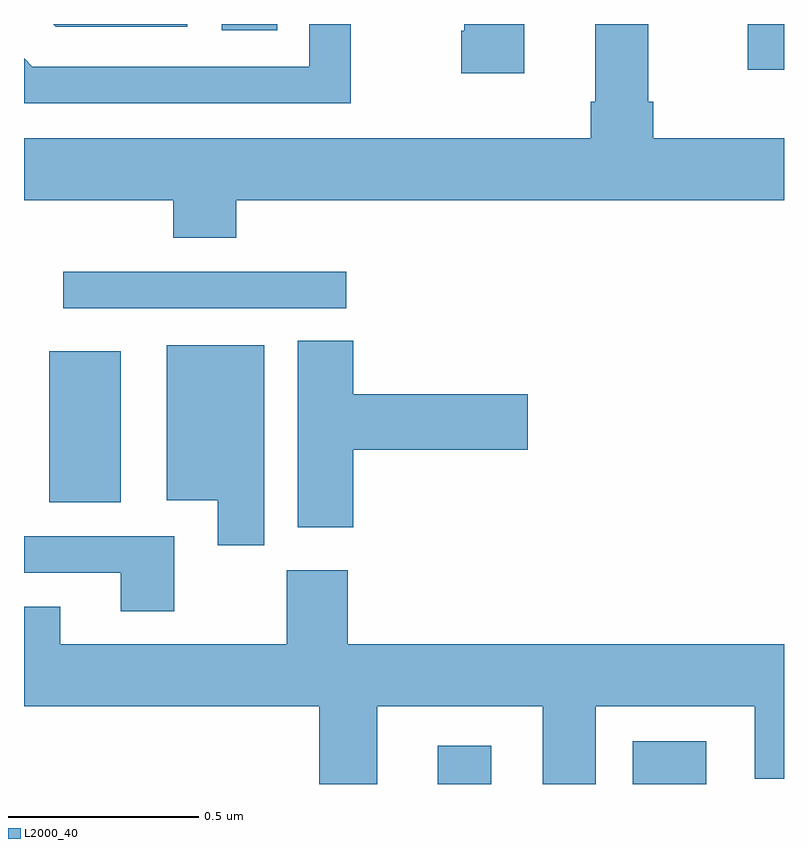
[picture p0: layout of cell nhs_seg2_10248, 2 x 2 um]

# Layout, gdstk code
import gdstk
lib = gdstk.Library(unit=1e-6, precision=1e-09)
def R(c, l, rs):  # rectangles x0, y0, x1, y1
    for r in rs: c.add(gdstk.rectangle(r[:2], r[2:], *l))
def P(c, l, *ps):  # polygons
    for p in ps: c.add(gdstk.Polygon(p, *l))
L2000_40 = (2000, 40)

nhs_seg2_10248 = lib.new_cell('nhs_seg2_10248')
R(nhs_seg2_10248, L2000_40, [(240.089,612.8,240.229,612.901), (240.602,612.8,240.796,612.913), (239.066,613.541,239.254,613.939), (239.103,614.052,239.848,614.148), (240.904,614.679,241,614.8), (239.52,614.784,239.666,614.8)])
P(nhs_seg2_10248, L2000_40, [(239.558,614.336),(241,614.336),(241,614.5),(240.656,614.5),(240.656,614.596),(240.643,614.596),(240.643,614.8),(240.503,614.8),(240.503,614.596),(240.491,614.596),(240.491,614.5),(239,614.5),(239,614.336),(239.393,614.336),(239.393,614.237),(239.558,614.237)],
  [(239.86,614.8),(239.751,614.8),(239.751,614.688),(239.022,614.688),(239,614.71),(239,614.592),(239.86,614.592)],
  [(240.316,614.8),(240.158,614.8),(240.158,614.782),(240.151,614.782),(240.151,614.67),(240.316,614.67)],
  [(239.43,614.8),(239.077,614.8),(239.084,614.793),(239.43,614.793)],
  [(239.867,613.679),(240.325,613.679),(240.325,613.826),(239.867,613.826),(239.867,613.967),(239.72,613.967),(239.72,613.476),(239.867,613.476)],
  [(239.632,613.954),(239.375,613.954),(239.375,613.547),(239.51,613.547),(239.51,613.428),(239.632,613.428)],
  [(239.395,613.452),(239,613.452),(239,613.356),(239.255,613.356),(239.255,613.254),(239.395,613.254)],
  [(239.929,613.004),(240.365,613.004),(240.365,612.8),(240.505,612.8),(240.505,613.004),(240.923,613.004),(240.923,612.814),(241,612.814),(241,613.168),(239.852,613.168),(239.852,613.363),(239.692,613.363),(239.692,613.168),(239.095,613.168),(239.095,613.267),(239,613.267),(239,613.004),(239.777,613.004),(239.777,612.8),(239.929,612.8)])

lib.write_gds('nhs_seg2_10248.gds')
